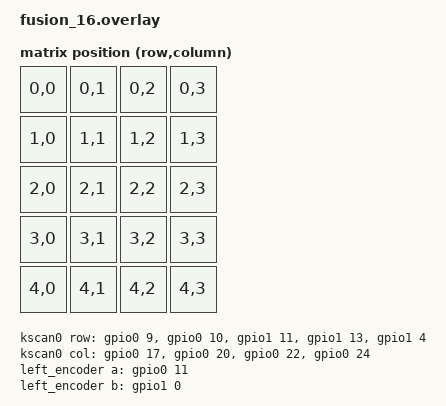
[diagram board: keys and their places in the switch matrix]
#include <dt-bindings/zmk/matrix_transform.h>
#include <physical_layouts.dtsi>

/ {
  chosen {
    zmk,kscan = &kscan0;
    zmk,physical-layout = &fusion_16_layout;
    zmk,sensors = &left_encoder;
  };

  /* --- REQUIRED for ZMK Studio: matrix transform --- */
  default_transform: matrix_transform {
    compatible = "zmk,matrix-transform";
    rows = <5>;
    columns = <4>;
    map = <
      RC(0,0) RC(0,1) RC(0,2) RC(0,3)
      RC(1,0) RC(1,1) RC(1,2) RC(1,3)
      RC(2,0) RC(2,1) RC(2,2) RC(2,3)
      RC(3,0) RC(3,1) RC(3,2) RC(3,3)
      RC(4,0) RC(4,1) RC(4,2) RC(4,3)
    >;
  };

  /* --- REQUIRED for ZMK Studio: physical layout (20 keys = 5x4) --- */
  fusion_16_layout: fusion_16_layout {
    compatible = "zmk,physical-layout";
    display-name = "Fusion 16";
    transform = <&default_transform>;

    /* 20 keys, order must match your keymap bindings order */
    keys = <
      &key_physical_attrs 100 100 0   0   0 0 0
      &key_physical_attrs 100 100 100 0   0 0 0
      &key_physical_attrs 100 100 200 0   0 0 0
      &key_physical_attrs 100 100 300 0   0 0 0

      &key_physical_attrs 100 100 0   100 0 0 0
      &key_physical_attrs 100 100 100 100 0 0 0
      &key_physical_attrs 100 100 200 100 0 0 0
      &key_physical_attrs 100 100 300 100 0 0 0

      &key_physical_attrs 100 100 0   200 0 0 0
      &key_physical_attrs 100 100 100 200 0 0 0
      &key_physical_attrs 100 100 200 200 0 0 0
      &key_physical_attrs 100 100 300 200 0 0 0

      &key_physical_attrs 100 100 0   300 0 0 0
      &key_physical_attrs 100 100 100 300 0 0 0
      &key_physical_attrs 100 100 200 300 0 0 0
      &key_physical_attrs 100 100 300 300 0 0 0

      &key_physical_attrs 100 100 0   400 0 0 0
      &key_physical_attrs 100 100 100 400 0 0 0
      &key_physical_attrs 100 100 200 400 0 0 0
      &key_physical_attrs 100 100 300 400 0 0 0
    >;
  };

  /* --- Matrix scanner --- */
  kscan0: kscan {
    compatible = "zmk,kscan-gpio-matrix";
    diode-direction = "col2row";

    /* Columns (from your existing overlay) */
    col-gpios = <
      &gpio0 17 (GPIO_ACTIVE_LOW | GPIO_PULL_UP) /* C0 P0.17 */
      &gpio0 20 (GPIO_ACTIVE_LOW | GPIO_PULL_UP) /* C1 P0.20 */
      &gpio0 22 (GPIO_ACTIVE_LOW | GPIO_PULL_UP) /* C2 P0.22 */
      &gpio0 24 (GPIO_ACTIVE_LOW | GPIO_PULL_UP) /* C3 P0.24 */
    >;

    row-gpios = <
      &gpio0 9  (GPIO_ACTIVE_LOW | GPIO_PULL_UP) 
      &gpio0 10 (GPIO_ACTIVE_LOW | GPIO_PULL_UP) 
      &gpio1 11 (GPIO_ACTIVE_LOW | GPIO_PULL_UP) 
      &gpio1 13 (GPIO_ACTIVE_LOW | GPIO_PULL_UP) 
      &gpio1 4  (GPIO_ACTIVE_LOW | GPIO_PULL_UP) 
    >;
  };

  /* --- Encoder --- */
  left_encoder: left_encoder {
    compatible = "alps,ec11";
    a-gpios = <&gpio0 11 (GPIO_ACTIVE_LOW | GPIO_PULL_UP)>; /* P0.11 */
    b-gpios = <&gpio1 0  (GPIO_ACTIVE_LOW | GPIO_PULL_UP)>; /* P1.00 */
    steps = <4>;
    status = "okay";
  };

  sensors: sensors {
    compatible = "zmk,keymap-sensors";
    sensors = <&left_encoder>;
    triggers-per-rotation = <4>;
  };
};
